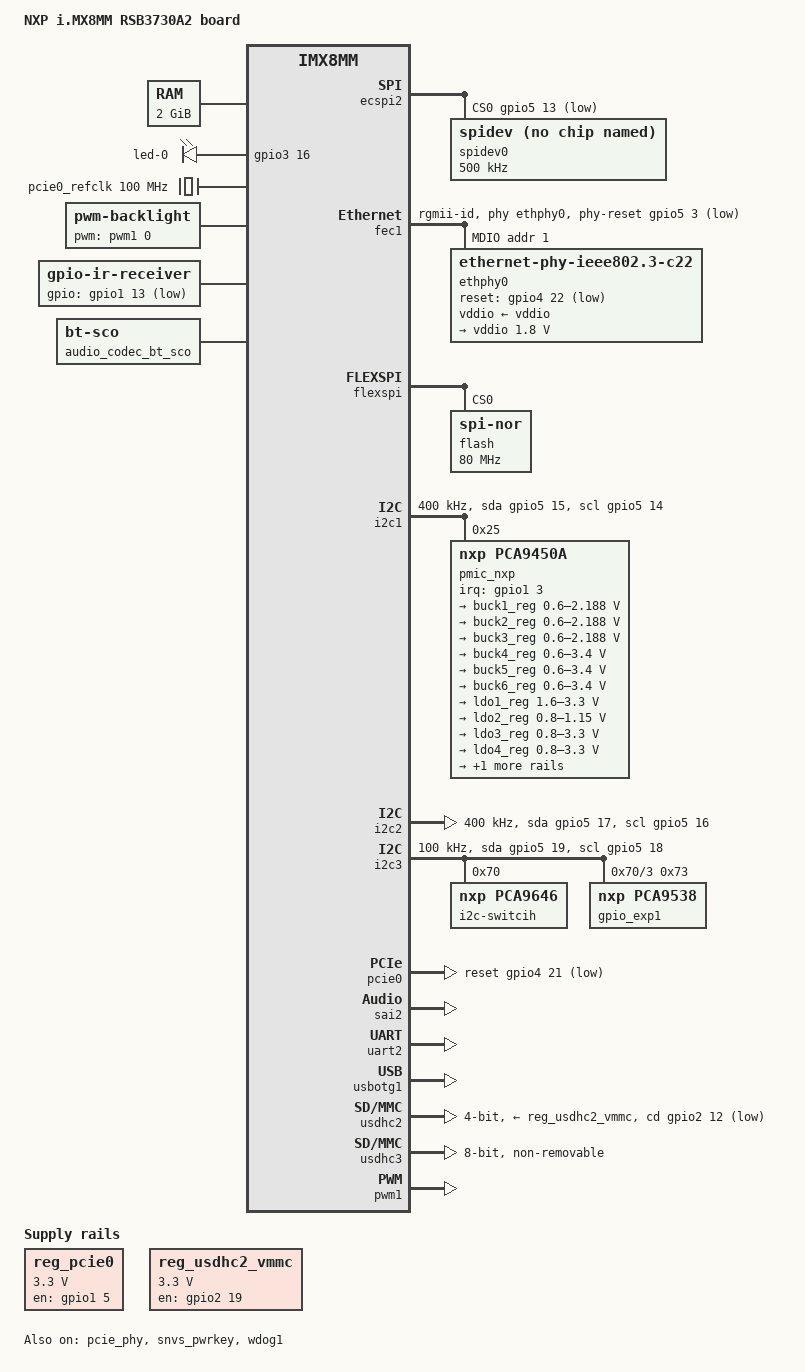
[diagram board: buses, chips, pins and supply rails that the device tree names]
// SPDX-License-Identifier: (GPL-2.0+ OR MIT)
/*
 * Copyright 2020,2022 NXP
 */

/dts-v1/;

#include <dt-bindings/phy/phy-imx8-pcie.h>
#include <dt-bindings/usb/pd.h>
#include "imx8mm.dtsi"

/ {
	model = "NXP i.MX8MM RSB3730A2 board";
	compatible = "fsl,imx8mm-evk", "fsl,imx8mm";

	chosen {
		bootargs = "console=ttymxc1,115200 earlycon=ec_imx6q,0x30890000,115200";
		stdout-path = &uart2;
	};

	aliases {
		spi0 = &flexspi;
	};

	memory@40000000 {
		device_type = "memory";
		reg = <0x0 0x40000000 0 0x80000000>;
	};

	leds {
		compatible = "gpio-leds";
		pinctrl-names = "default";
		pinctrl-0 = <&pinctrl_gpio_led>;

		led-0 {
			gpios = <&gpio3 16 GPIO_ACTIVE_HIGH>;
			default-state = "on";
		};
	};

	pcie0_refclk: pcie0-refclk {
		compatible = "fixed-clock";
		#clock-cells = <0>;
		clock-frequency = <100000000>;
	};

	reg_pcie0: regulator-pcie {
		compatible = "regulator-fixed";
		pinctrl-names = "default";
		pinctrl-0 = <&pinctrl_pcie0_reg>;
		regulator-name = "MPCIE_3V3";
		regulator-min-microvolt = <3300000>;
		regulator-max-microvolt = <3300000>;
		gpio = <&gpio1 5 GPIO_ACTIVE_HIGH>;
		enable-active-high;
	};

	reg_usdhc2_vmmc: regulator-usdhc2 {
		compatible = "regulator-fixed";
		pinctrl-names = "default";
		pinctrl-0 = <&pinctrl_reg_usdhc2_vmmc>;
		regulator-name = "VSD_3V3";
		regulator-min-microvolt = <3300000>;
		regulator-max-microvolt = <3300000>;
		gpio = <&gpio2 19 GPIO_ACTIVE_HIGH>;
		off-on-delay-us = <20000>;
		startup-delay-us = <35000>;
		enable-active-high;
	};

	backlight: backlight {
		compatible = "pwm-backlight";
		pwms = <&pwm1 0 5000000 0>;
		brightness-levels = <0 255>;
		num-interpolated-steps = <255>;
		default-brightness-level = <250>;
	};

	ir-receiver {
		compatible = "gpio-ir-receiver";
		gpios = <&gpio1 13 GPIO_ACTIVE_LOW>;
		pinctrl-names = "default";
		pinctrl-0 = <&pinctrl_ir>;
		linux,autosuspend-period = <125>;
	};

	audio_codec_bt_sco: audio-codec-bt-sco {
		compatible = "linux,bt-sco";
		#sound-dai-cells = <1>;
	};

	sound-bt-sco {
		compatible = "simple-audio-card";
		simple-audio-card,name = "bt-sco-audio";
		simple-audio-card,format = "dsp_a";
		simple-audio-card,bitclock-inversion;
		simple-audio-card,frame-master = <&btcpu>;
		simple-audio-card,bitclock-master = <&btcpu>;

		btcpu: simple-audio-card,cpu {
			sound-dai = <&sai2>;
			dai-tdm-slot-num = <2>;
			dai-tdm-slot-width = <16>;
		};

		simple-audio-card,codec {
			sound-dai = <&audio_codec_bt_sco 1>;
		};
	};

	dsi_host: dsi-host {
		compatible = "samsung,sec-mipi-dsi";
		status = "disabled";
	};
};

&A53_0 {
	cpu-supply = <&buck2_reg>;
};

&A53_1 {
	cpu-supply = <&buck2_reg>;
};

&A53_2 {
	cpu-supply = <&buck2_reg>;
};

&A53_3 {
	cpu-supply = <&buck2_reg>;
};


&ecspi2 {
	#address-cells = <1>;
	#size-cells = <0>;
	pinctrl-names = "default";
	pinctrl-0 = <&pinctrl_ecspi2 &pinctrl_ecspi2_cs>;
	cs-gpios = <&gpio5 13 GPIO_ACTIVE_LOW>;
	status = "okay";

	spidev0: spi@0 {
		reg = <0>;
		compatible = "rohm,dh2228fv";
		spi-max-frequency = <500000>;
	};
};

&fec1 {
	pinctrl-names = "default";
	pinctrl-0 = <&pinctrl_fec1>;
	phy-mode = "rgmii-id";
	phy-handle = <&ethphy0>;
	fsl,magic-packet;
    phy-reset-gpios = <&gpio5 3 GPIO_ACTIVE_LOW>;
    phy-reset-post-delay = <75>;
    phy-reset-duration = <10>;
	status = "okay";

	mdio {
		#address-cells = <1>;
		#size-cells = <0>;

		ethphy0: ethernet-phy@1 {
			compatible = "ethernet-phy-ieee802.3-c22";
			reg = <1>;
			reset-gpios = <&gpio4 22 GPIO_ACTIVE_LOW>;
			reset-assert-us = <15000>;
			reset-deassert-us = <100000>;
			qca,disable-smarteee;
			vddio-supply = <&vddio>;

			vddio: vddio-regulator {
				regulator-min-microvolt = <1800000>;
				regulator-max-microvolt = <1800000>;
			};
		};
	};
};

&flexspi {
	pinctrl-names = "default";
	pinctrl-0 = <&pinctrl_flexspi>;
	status = "okay";

	flash@0 {
		reg = <0>;
		#address-cells = <1>;
		#size-cells = <1>;
		compatible = "jedec,spi-nor";
		spi-max-frequency = <80000000>;
		spi-tx-bus-width = <1>;
		spi-rx-bus-width = <4>;
	};
};

&i2c1 {
	clock-frequency = <400000>;
	pinctrl-names = "default", "gpio";
	pinctrl-0 = <&pinctrl_i2c1>;
	pinctrl-1 = <&pinctrl_i2c1_gpio>;
	scl-gpios = <&gpio5 14 GPIO_ACTIVE_HIGH>;
	sda-gpios = <&gpio5 15 GPIO_ACTIVE_HIGH>;
	status = "okay";

	pmic_nxp: pca9450@25 {
		compatible = "nxp,pca9450a";
		reg = <0x25>;
		pinctrl-0 = <&pinctrl_pmic>;
		pinctrl-names = "default";
		interrupt-parent = <&gpio1>;
		interrupts = <3 IRQ_TYPE_LEVEL_LOW>;

		regulators {
			buck1_reg: BUCK1 {
				regulator-name = "BUCK1";
				regulator-min-microvolt = <600000>;
				regulator-max-microvolt = <2187500>;
				regulator-boot-on;
				regulator-always-on;
				regulator-ramp-delay = <3125>;
				nxp,dvs-run-voltage = <850000>;
				nxp,dvs-standby-voltage = <800000>;
			};

			buck2_reg: BUCK2 {
				regulator-name = "BUCK2";
				regulator-min-microvolt = <600000>;
				regulator-max-microvolt = <2187500>;
				regulator-boot-on;
				regulator-always-on;
				regulator-ramp-delay = <3125>;
			};

			buck3_reg: BUCK3 {
				regulator-name = "BUCK3";
				regulator-min-microvolt = <600000>;
				regulator-max-microvolt = <2187500>;
				regulator-boot-on;
				regulator-always-on;
			};

			buck4_reg: BUCK4 {
				regulator-name = "BUCK4";
				regulator-min-microvolt = <600000>;
				regulator-max-microvolt = <3400000>;
				regulator-boot-on;
				regulator-always-on;
			};

			buck5_reg: BUCK5 {
				regulator-name = "BUCK5";
				regulator-min-microvolt = <600000>;
				regulator-max-microvolt = <3400000>;
				regulator-boot-on;
				regulator-always-on;
			};

			buck6_reg: BUCK6 {
				regulator-name = "BUCK6";
				regulator-min-microvolt = <600000>;
				regulator-max-microvolt = <3400000>;
				regulator-boot-on;
				regulator-always-on;
			};

			ldo1_reg: LDO1 {
				regulator-name = "LDO1";
				regulator-min-microvolt = <1600000>;
				regulator-max-microvolt = <3300000>;
				regulator-boot-on;
				regulator-always-on;
			};

			ldo2_reg: LDO2 {
				regulator-name = "LDO2";
				regulator-min-microvolt = <800000>;
				regulator-max-microvolt = <1150000>;
				regulator-boot-on;
				regulator-always-on;
			};

			ldo3_reg: LDO3 {
				regulator-name = "LDO3";
				regulator-min-microvolt = <800000>;
				regulator-max-microvolt = <3300000>;
				regulator-boot-on;
				regulator-always-on;
			};

			ldo4_reg: LDO4 {
				regulator-name = "LDO4";
				regulator-min-microvolt = <800000>;
				regulator-max-microvolt = <3300000>;
				regulator-boot-on;
				regulator-always-on;
			};

			ldo5_reg: LDO5 {
				regulator-name = "LDO5";
				regulator-min-microvolt = <1800000>;
				regulator-max-microvolt = <3300000>;
			};

		};
	};
};

&i2c2 {
	clock-frequency = <400000>;
	pinctrl-names = "default", "gpio";
	pinctrl-0 = <&pinctrl_i2c2>;
	pinctrl-1 = <&pinctrl_i2c2_gpio>;
	scl-gpios = <&gpio5 16 GPIO_ACTIVE_HIGH>;
	sda-gpios = <&gpio5 17 GPIO_ACTIVE_HIGH>;
	status = "okay";
};

&i2c3 {
	clock-frequency = <100000>;
	pinctrl-names = "default", "gpio";
	pinctrl-0 = <&pinctrl_i2c3>;
	pinctrl-1 = <&pinctrl_i2c3_gpio>;
	scl-gpios = <&gpio5 18 GPIO_ACTIVE_HIGH>;
	sda-gpios = <&gpio5 19 GPIO_ACTIVE_HIGH>;
	status = "okay";

	i2c-switcih@70 {
		#address-cells = <1>;
		#size-cells = <0>;
		compatible = "nxp,pca9646";
		reg = <0x70>;

		i2c@3 {
			reg = <3>;
			#address-cells = <1>;
			#size-cells = <0>;

			gpio_exp1: pca9538@73 {
				compatible = "nxp,pca9538";
				reg = <0x73>;
				#gpio-cells = <2>;
				gpio-controller;
			};
		};
	};
};

&pcie_phy {
	fsl,refclk-pad-mode = <IMX8_PCIE_REFCLK_PAD_INPUT>;
	fsl,tx-deemph-gen1 = <0x2d>;
	fsl,tx-deemph-gen2 = <0xf>;
	clocks = <&pcie0_refclk>;
	status = "okay";
};

&pcie0 {
	pinctrl-names = "default";
	pinctrl-0 = <&pinctrl_pcie0>;
	reset-gpio = <&gpio4 21 GPIO_ACTIVE_LOW>;
	clocks = <&clk IMX8MM_CLK_PCIE1_ROOT>, <&clk IMX8MM_CLK_PCIE1_AUX>,
		 <&pcie0_refclk>;
	clock-names = "pcie", "pcie_aux", "pcie_bus";
	assigned-clocks = <&clk IMX8MM_CLK_PCIE1_AUX>,
			  <&clk IMX8MM_CLK_PCIE1_CTRL>;
	assigned-clock-rates = <10000000>, <250000000>;
	assigned-clock-parents = <&clk IMX8MM_SYS_PLL2_50M>,
				 <&clk IMX8MM_SYS_PLL2_250M>;
	vpcie-supply = <&reg_pcie0>;
	status = "okay";
};

&sai2 {
	#sound-dai-cells = <0>;
	pinctrl-names = "default";
	pinctrl-0 = <&pinctrl_sai2>;
	assigned-clocks = <&clk IMX8MM_CLK_SAI2>;
	assigned-clock-parents = <&clk IMX8MM_AUDIO_PLL1_OUT>;
	assigned-clock-rates = <24576000>;
	status = "okay";
};

&snvs_pwrkey {
	status = "okay";
};

&uart2 { /* console */
	pinctrl-names = "default";
	pinctrl-0 = <&pinctrl_uart2>;
	status = "okay";
};

&usbotg1 {
	status = "okay";
};

&usdhc2 {
	assigned-clocks = <&clk IMX8MM_CLK_USDHC2>;
	assigned-clock-rates = <200000000>;
	pinctrl-names = "default", "state_100mhz", "state_200mhz";
	pinctrl-0 = <&pinctrl_usdhc2>, <&pinctrl_usdhc2_gpio>;
	pinctrl-1 = <&pinctrl_usdhc2_100mhz>, <&pinctrl_usdhc2_gpio>;
	pinctrl-2 = <&pinctrl_usdhc2_200mhz>, <&pinctrl_usdhc2_gpio>;
	cd-gpios = <&gpio2 12 GPIO_ACTIVE_LOW>;
	bus-width = <4>;
	vmmc-supply = <&reg_usdhc2_vmmc>;
	status = "okay";
};

&usdhc3 {
	assigned-clocks = <&clk IMX8MM_CLK_USDHC3_ROOT>;
	assigned-clock-rates = <400000000>;
	pinctrl-names = "default", "state_100mhz", "state_200mhz";
	pinctrl-0 = <&pinctrl_usdhc3>;
	pinctrl-1 = <&pinctrl_usdhc3_100mhz>;
	pinctrl-2 = <&pinctrl_usdhc3_200mhz>;
	bus-width = <8>;
	non-removable;
	status = "okay";
};

&wdog1 {
	pinctrl-names = "default";
	pinctrl-0 = <&pinctrl_wdog>;
	fsl,ext-reset-output;
	status = "okay";
};

&pwm1 {
	pinctrl-names = "default";
	pinctrl-0 = <&pinctrl_backlight>;
	status = "okay";
};

&lcdif {
	display = <&display0>;
	status = "disabled";

	display0: display@0 {
		bits-per-pixel = <24>;
		bus-width = <24>;
	};
};

&mipi_dsi {
	status = "disabled";
};

&iomuxc {
	pinctrl_ecspi2: ecspi2grp {
		fsl,pins = <
			MX8MM_IOMUXC_ECSPI2_SCLK_ECSPI2_SCLK		0x82
			MX8MM_IOMUXC_ECSPI2_MOSI_ECSPI2_MOSI		0x82
			MX8MM_IOMUXC_ECSPI2_MISO_ECSPI2_MISO		0x82
		>;
	};

	pinctrl_ecspi2_cs: ecspi2csgrp {
		fsl,pins = <
			MX8MM_IOMUXC_ECSPI2_SS0_GPIO5_IO13		0x40000
		>;
	};

	pinctrl_fec1: fec1grp {
		fsl,pins = <
			MX8MM_IOMUXC_ENET_MDC_ENET1_MDC			0x3
			MX8MM_IOMUXC_ENET_MDIO_ENET1_MDIO		0x3
			MX8MM_IOMUXC_ENET_TD3_ENET1_RGMII_TD3		0x1f
			MX8MM_IOMUXC_ENET_TD2_ENET1_RGMII_TD2		0x1f
			MX8MM_IOMUXC_ENET_TD1_ENET1_RGMII_TD1		0x1f
			MX8MM_IOMUXC_ENET_TD0_ENET1_RGMII_TD0		0x1f
			MX8MM_IOMUXC_ENET_RD3_ENET1_RGMII_RD3		0x91
			MX8MM_IOMUXC_ENET_RD2_ENET1_RGMII_RD2		0x91
			MX8MM_IOMUXC_ENET_RD1_ENET1_RGMII_RD1		0x91
			MX8MM_IOMUXC_ENET_RD0_ENET1_RGMII_RD0		0x91
			MX8MM_IOMUXC_ENET_TXC_ENET1_RGMII_TXC		0x1f
			MX8MM_IOMUXC_ENET_RXC_ENET1_RGMII_RXC		0x91
			MX8MM_IOMUXC_ENET_RX_CTL_ENET1_RGMII_RX_CTL	0x91
			MX8MM_IOMUXC_ENET_TX_CTL_ENET1_RGMII_TX_CTL	0x1f
			MX8MM_IOMUXC_SPDIF_TX_GPIO5_IO3				0x159
		>;
	};

	pinctrl_flexspi: flexspigrp {
		fsl,pins = <
			MX8MM_IOMUXC_NAND_ALE_QSPI_A_SCLK               0x1c2
			MX8MM_IOMUXC_NAND_CE0_B_QSPI_A_SS0_B            0x82
			MX8MM_IOMUXC_NAND_DATA00_QSPI_A_DATA0           0x82
			MX8MM_IOMUXC_NAND_DATA01_QSPI_A_DATA1           0x82
			MX8MM_IOMUXC_NAND_DATA02_QSPI_A_DATA2           0x82
			MX8MM_IOMUXC_NAND_DATA03_QSPI_A_DATA3           0x82
		>;
	};

	pinctrl_gpio_led: gpioledgrp {
		fsl,pins = <
			MX8MM_IOMUXC_NAND_READY_B_GPIO3_IO16	0x19
		>;
	};

	pinctrl_ir: irgrp {
		fsl,pins = <
			MX8MM_IOMUXC_GPIO1_IO13_GPIO1_IO13              0x4f
		>;
	};

	pinctrl_i2c1: i2c1grp {
		fsl,pins = <
			MX8MM_IOMUXC_I2C1_SCL_I2C1_SCL			0x400001c3
			MX8MM_IOMUXC_I2C1_SDA_I2C1_SDA			0x400001c3
		>;
	};

	pinctrl_i2c2: i2c2grp {
		fsl,pins = <
			MX8MM_IOMUXC_I2C2_SCL_I2C2_SCL			0x400001c3
			MX8MM_IOMUXC_I2C2_SDA_I2C2_SDA			0x400001c3
		>;
	};

	pinctrl_i2c3: i2c3grp {
		fsl,pins = <
			MX8MM_IOMUXC_I2C3_SCL_I2C3_SCL			0x400001c3
			MX8MM_IOMUXC_I2C3_SDA_I2C3_SDA			0x400001c3
		>;
	};


	pinctrl_i2c1_gpio: i2c1-gpiogrp {
		fsl,pins = <
			MX8MM_IOMUXC_I2C1_SCL_GPIO5_IO14        		0x1c3
			MX8MM_IOMUXC_I2C1_SDA_GPIO5_IO15        	0x1c3
		>;
	};

	pinctrl_i2c2_gpio: i2c2-gpiogrp {
		fsl,pins = <
			MX8MM_IOMUXC_I2C2_SCL_GPIO5_IO16        		0x1c3
			MX8MM_IOMUXC_I2C2_SDA_GPIO5_IO17        	0x1c3
		>;
	};

	pinctrl_i2c3_gpio: i2c3-gpiogrp {
		fsl,pins = <
			MX8MM_IOMUXC_I2C3_SCL_GPIO5_IO18        		0x1c3
			MX8MM_IOMUXC_I2C3_SDA_GPIO5_IO19        	0x1c3
		>;
	};

	pinctrl_pcie0: pcie0grp {
		fsl,pins = <
			MX8MM_IOMUXC_I2C4_SCL_PCIE1_CLKREQ_B    0x61
			MX8MM_IOMUXC_SAI2_RXFS_GPIO4_IO21       0x41
		>;
	};

	pinctrl_pcie0_reg: pcie0reggrp {
		fsl,pins = <
			MX8MM_IOMUXC_GPIO1_IO05_GPIO1_IO5       0x41
		>;
	};

	pinctrl_pmic: pmicirqgrp {
		fsl,pins = <
			MX8MM_IOMUXC_GPIO1_IO03_GPIO1_IO3		0x141
		>;
	};

	pinctrl_reg_usdhc2_vmmc: regusdhc2vmmcgrp {
		fsl,pins = <
			MX8MM_IOMUXC_SD2_RESET_B_GPIO2_IO19	0x41
		>;
	};

	pinctrl_sai2: sai2grp {
		fsl,pins = <
			MX8MM_IOMUXC_SAI2_TXC_SAI2_TX_BCLK      0xd6
			MX8MM_IOMUXC_SAI2_TXFS_SAI2_TX_SYNC     0xd6
			MX8MM_IOMUXC_SAI2_TXD0_SAI2_TX_DATA0    0xd6
			MX8MM_IOMUXC_SAI2_RXD0_SAI2_RX_DATA0    0xd6
		>;
	};

	pinctrl_uart2: uart2grp {
		fsl,pins = <
			MX8MM_IOMUXC_SAI3_TXFS_UART2_DCE_RX	0x140
			MX8MM_IOMUXC_SAI3_TXC_UART2_DCE_TX	0x140
		>;
	};

	pinctrl_usdhc2_gpio: usdhc2grpgpiogrp {
		fsl,pins = <
			MX8MM_IOMUXC_SD2_CD_B_GPIO2_IO12	0x1c4
		>;
	};

	pinctrl_usdhc2: usdhc2grp {
		fsl,pins = <
			MX8MM_IOMUXC_SD2_CLK_USDHC2_CLK		0x190
			MX8MM_IOMUXC_SD2_CMD_USDHC2_CMD		0x1d0
			MX8MM_IOMUXC_SD2_DATA0_USDHC2_DATA0	0x1d0
			MX8MM_IOMUXC_SD2_DATA1_USDHC2_DATA1	0x1d0
			MX8MM_IOMUXC_SD2_DATA2_USDHC2_DATA2	0x1d0
			MX8MM_IOMUXC_SD2_DATA3_USDHC2_DATA3	0x1d0
			MX8MM_IOMUXC_GPIO1_IO04_USDHC2_VSELECT	0x1d0
		>;
	};

	pinctrl_usdhc2_100mhz: usdhc2-100mhzgrp {
		fsl,pins = <
			MX8MM_IOMUXC_SD2_CLK_USDHC2_CLK		0x194
			MX8MM_IOMUXC_SD2_CMD_USDHC2_CMD		0x1d4
			MX8MM_IOMUXC_SD2_DATA0_USDHC2_DATA0	0x1d4
			MX8MM_IOMUXC_SD2_DATA1_USDHC2_DATA1	0x1d4
			MX8MM_IOMUXC_SD2_DATA2_USDHC2_DATA2	0x1d4
			MX8MM_IOMUXC_SD2_DATA3_USDHC2_DATA3	0x1d4
			MX8MM_IOMUXC_GPIO1_IO04_USDHC2_VSELECT	0x1d0
		>;
	};

	pinctrl_usdhc2_200mhz: usdhc2-200mhzgrp {
		fsl,pins = <
			MX8MM_IOMUXC_SD2_CLK_USDHC2_CLK		0x196
			MX8MM_IOMUXC_SD2_CMD_USDHC2_CMD		0x1d6
			MX8MM_IOMUXC_SD2_DATA0_USDHC2_DATA0	0x1d6
			MX8MM_IOMUXC_SD2_DATA1_USDHC2_DATA1	0x1d6
			MX8MM_IOMUXC_SD2_DATA2_USDHC2_DATA2	0x1d6
			MX8MM_IOMUXC_SD2_DATA3_USDHC2_DATA3	0x1d6
			MX8MM_IOMUXC_GPIO1_IO04_USDHC2_VSELECT	0x1d0
		>;
	};

	pinctrl_usdhc3: usdhc3grp {
		fsl,pins = <
			MX8MM_IOMUXC_NAND_WE_B_USDHC3_CLK               0x190
			MX8MM_IOMUXC_NAND_WP_B_USDHC3_CMD               0x1d0
			MX8MM_IOMUXC_NAND_DATA04_USDHC3_DATA0           0x1d0
			MX8MM_IOMUXC_NAND_DATA05_USDHC3_DATA1           0x1d0
			MX8MM_IOMUXC_NAND_DATA06_USDHC3_DATA2           0x1d0
			MX8MM_IOMUXC_NAND_DATA06_USDHC3_DATA2           0x1d0
			MX8MM_IOMUXC_NAND_DATA07_USDHC3_DATA3           0x1d0
			MX8MM_IOMUXC_NAND_RE_B_USDHC3_DATA4             0x1d0
			MX8MM_IOMUXC_NAND_CE2_B_USDHC3_DATA5            0x1d0
			MX8MM_IOMUXC_NAND_CE3_B_USDHC3_DATA6            0x1d0
			MX8MM_IOMUXC_NAND_CLE_USDHC3_DATA7              0x1d0
			MX8MM_IOMUXC_NAND_CE1_B_USDHC3_STROBE           0x190
		>;
	};

	pinctrl_usdhc3_100mhz: usdhc3-100mhzgrp {
		fsl,pins = <
			MX8MM_IOMUXC_NAND_WE_B_USDHC3_CLK               0x194
			MX8MM_IOMUXC_NAND_WP_B_USDHC3_CMD               0x1d4
			MX8MM_IOMUXC_NAND_DATA04_USDHC3_DATA0           0x1d4
			MX8MM_IOMUXC_NAND_DATA05_USDHC3_DATA1           0x1d4
			MX8MM_IOMUXC_NAND_DATA06_USDHC3_DATA2           0x1d4
			MX8MM_IOMUXC_NAND_DATA07_USDHC3_DATA3           0x1d4
			MX8MM_IOMUXC_NAND_RE_B_USDHC3_DATA4             0x1d4
			MX8MM_IOMUXC_NAND_CE2_B_USDHC3_DATA5            0x1d4
			MX8MM_IOMUXC_NAND_CE3_B_USDHC3_DATA6            0x1d4
			MX8MM_IOMUXC_NAND_CLE_USDHC3_DATA7              0x1d4
			MX8MM_IOMUXC_NAND_CE1_B_USDHC3_STROBE           0x194
		>;
	};

	pinctrl_usdhc3_200mhz: usdhc3-200mhzgrp {
		fsl,pins = <
			MX8MM_IOMUXC_NAND_WE_B_USDHC3_CLK               0x196
			MX8MM_IOMUXC_NAND_WP_B_USDHC3_CMD               0x1d6
			MX8MM_IOMUXC_NAND_DATA04_USDHC3_DATA0           0x1d6
			MX8MM_IOMUXC_NAND_DATA05_USDHC3_DATA1           0x1d6
			MX8MM_IOMUXC_NAND_DATA06_USDHC3_DATA2           0x1d6
			MX8MM_IOMUXC_NAND_DATA07_USDHC3_DATA3           0x1d6
			MX8MM_IOMUXC_NAND_RE_B_USDHC3_DATA4             0x1d6
			MX8MM_IOMUXC_NAND_CE2_B_USDHC3_DATA5            0x1d6
			MX8MM_IOMUXC_NAND_CE3_B_USDHC3_DATA6            0x1d6
			MX8MM_IOMUXC_NAND_CLE_USDHC3_DATA7              0x1d6
			MX8MM_IOMUXC_NAND_CE1_B_USDHC3_STROBE           0x196
		>;
	};

	pinctrl_wdog: wdoggrp {
		fsl,pins = <
			MX8MM_IOMUXC_GPIO1_IO02_WDOG1_WDOG_B	0x166
		>;
	};

	pinctrl_backlight: backlightgrp {
		fsl,pins = <
			MX8MM_IOMUXC_GPIO1_IO01_PWM1_OUT	0x06
		>;
	};
};
